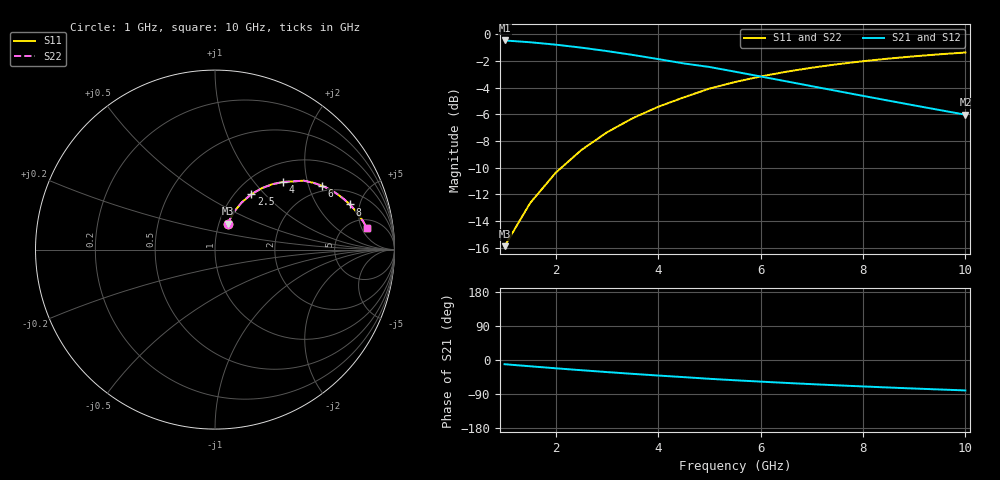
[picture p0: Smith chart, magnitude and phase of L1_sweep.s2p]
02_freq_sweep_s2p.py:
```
"""Frequency-swept S-parameter analysis with Touchstone export.

Sweeps a 3-turn 200 μm spiral across 1–10 GHz and writes the
S-matrix to a Touchstone ``.s2p`` file viewable by any RF tool.
"""

import sys
from pathlib import Path

ROOT = Path(__file__).resolve().parents[1]
sys.path.insert(0, str(ROOT / "src"))

import reasitic
from reasitic.network import (
    linear_freqs,
    two_port_sweep,
    write_touchstone_file,
)


def main() -> None:
    tech = reasitic.parse_tech_file(ROOT.parent / "run" / "tek" / "BiCMOS.tek")
    sp = reasitic.square_spiral(
        "L1",
        length=200.0, width=10.0, spacing=2.0, turns=3.0,
        tech=tech, metal="m3",
    )
    fs = linear_freqs(1.0, 10.0, 0.5)
    sweep = two_port_sweep(sp, tech, fs)

    out = ROOT / "examples" / "L1_sweep.s2p"
    write_touchstone_file(out, sweep.to_touchstone_points(param="S"))
    print(f"Wrote {len(fs)} frequency points to {out}")
    # Quick summary of S11 magnitude at each f
    print(f"{'f (GHz)':>10} {'|S11|':>10} {'|S21|':>10}")
    for f, S in zip(fs, sweep.S, strict=True):
        print(f"{f:>10.2f} {abs(S[0,0]):>10.4f} {abs(S[1,0]):>10.4f}")


if __name__ == "__main__":
    main()
```
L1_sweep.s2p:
# GHz S MA R 50
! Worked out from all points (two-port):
!   19 points, 1 GHz to 10 GHz, reference 50 ohm
!   highest |S21| = -0.47 dB at 1 GHz (marker M1); lowest = -6.0 dB at 10 GHz (marker M2)
!   |S21| within 3 dB of the highest: start of sweep to 6.417 GHz
!   lowest |S11| = -15.9 dB at 1 GHz (marker M3), VSWR 1.38, Z = 55 + j16.3 ohm
!   |S11| at or under -10 dB: start of sweep to 2.109 GHz
!   |S22| runs from -15.9 to -1.4 dB; largest |S21 - S12| = 0
!   S11 on the Smith chart (normalised r, x): 1 GHz: 1.10, +0.33; 2.5 GHz: 1.18, +0.84; 4 GHz: 1.35, +1.43; 6 GHz: 1.79, +2.46; 8 GHz: 2.98, +4.01; 10 GHz: 6.94, +6.27
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1  0.1608 64.2  0.9471 -11.1  0.9471 -11.1  0.1608 64.2
1.5  0.2334 63.4  0.9326 -16.6  0.9326 -16.6  0.2334 63.4
2  0.303 60.4  0.9133 -21.9  0.9133 -21.9  0.303 60.4
2.5  0.3684 56.7  0.8902 -27.0  0.8902 -27.0  0.3684 56.7
3  0.429 52.8  0.8642 -31.9  0.8642 -31.9  0.429 52.8
4  0.5346 44.8  0.8068 -41.0  0.8068 -41.0  0.5346 44.8
5  0.6254 37.9  0.7536 -49.6  0.7536 -49.6  0.6254 37.9
5.5  0.6619 34.3  0.7236 -53.4  0.7236 -53.4  0.6619 34.3
6  0.6943 30.8  0.6943 -57.1  0.6943 -57.1  0.6943 30.8
8  0.7919 18.5  0.5874 -69.8  0.5874 -69.8  0.7919 18.5
10  0.8537 8.2  0.4994 -80.3  0.4994 -80.3  0.8537 8.2
